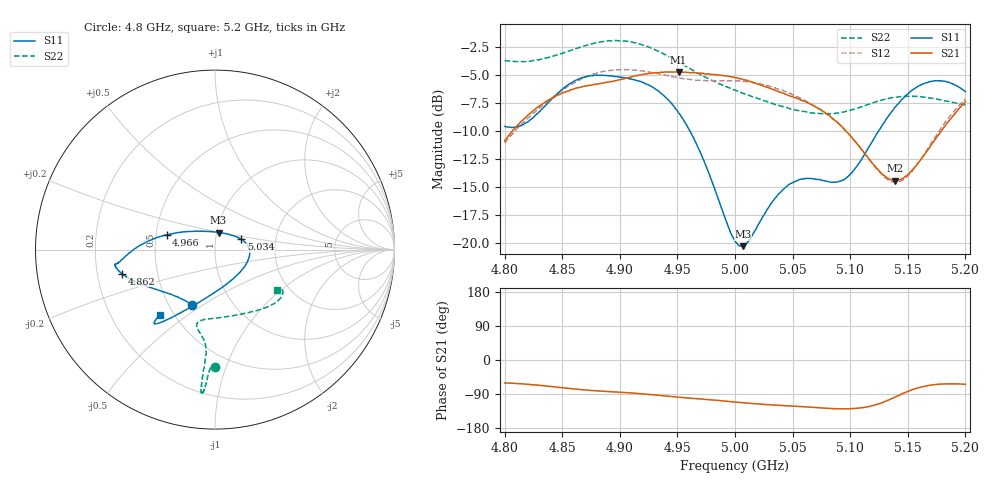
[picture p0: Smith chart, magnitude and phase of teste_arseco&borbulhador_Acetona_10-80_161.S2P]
! Network Analyzer HP8722D
! Hewlett-Packard
! Data name: Linha & Wilkinson
! Saver's name: Rodrigo Anjos
! Comments: Teste da utilização de aquisição
! continua pelo VNA HP8722D
! Time and date: 17/4/2025 15:42
!  Frequency  S11  S21  S12  S22
# HZ  S  MA R 50
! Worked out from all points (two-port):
!   401 points, 4.8 GHz to 5.2 GHz, reference 50 ohm
!   highest |S21| = -4.68 dB at 4.951 GHz (marker M1); lowest = -14.4 dB at 5.139 GHz (marker M2)
!   |S21| within 3 dB of the highest: 4.831 GHz to 5.068 GHz (236.9 MHz wide, 4.79 % of centre); 5.196953 GHz to end of sweep
!   lowest |S11| = -20.2 dB at 5.007 GHz (marker M3), VSWR 1.22, Z = 51.1 + j9.81 ohm
!   |S11| at or under -10 dB: 4.961 GHz to 5.124 GHz (163.3 MHz wide, 3.24 % of centre)
!   |S22| runs from -8.4 to -1.9 dB; largest |S21 - S12| = 0.88
!   S11 on the Smith chart (normalised r, x): 4.8 GHz: 0.65, -0.45; 4.862 GHz: 0.31, -0.12; 4.966 GHz: 0.57, +0.10; 5.034 GHz: 1.33, +0.16; 5.2 GHz: 0.42, -0.39
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4.8e9  0.3329 -113.0  0.2868 -60.7  0.2806 -174.8  0.6561 -90.0
4.819e9  0.3465 -133.0  0.3681 -63.9  0.3572 -173.3  0.6508 -91.5
4.862e9  0.5353 -165.5  0.494 -76.8  0.5276 -176.6  0.7414 -93.8
4.867e9  0.5487 -167.4  0.4999 -78.4  0.5431 -177.6  0.7557 -93.8
4.88e9  0.5631 -170.9  0.5142 -81.5  0.5763 179.6  0.7867 -94.5
4.903e9  0.5501 -172.0  0.5416 -85.4  0.5973 175.2  0.8008 -95.4
4.934e9  0.4775 -177.8  0.5784 -93.4  0.5724 172.1  0.7173 -95.7
4.951e9  0.383 173.6  0.5832 -98.2  0.5492 172.4  0.6446 -95.2
4.966e9  0.2818 163.0  0.5772 -101.9  0.5346 173.9  0.5825 -94.8
5e9  0.1025 102.7  0.5489 -111.0  0.5313 176.4  0.4827 -99.2
5.007e9  0.09721 78.1  0.5379 -112.8  0.5274 176.3  0.4675 -100.6
5.034e9  0.1574 21.6  0.484 -119.1  0.4956 174.9  0.4185 -103.5
5.049e9  0.1854 6.1  0.4525 -121.3  0.4646 174.4  0.3976 -100.1
5.067e9  0.1945 -13.0  0.4146 -124.9  0.4175 173.9  0.3826 -90.8
5.087e9  0.1876 -45.1  0.3523 -128.3  0.3533 173.7  0.3808 -75.7
5.097e9  0.1965 -65.8  0.3145 -128.8  0.3148 174.7  0.3894 -67.4
5.134e9  0.3751 -116.1  0.1935 -104.9  0.1905 -157.7  0.4447 -43.0
5.139e9  0.4057 -119.1  0.1907 -97.9  0.1878 -149.9  0.4493 -40.7
5.151e9  0.4693 -124.2  0.2048 -81.7  0.2024 -131.2  0.4543 -36.3
5.17e9  0.5283 -128.6  0.2728 -66.3  0.279 -112.5  0.4452 -31.8
5.184e9  0.526 -129.9  0.3442 -62.9  0.3555 -107.1  0.4316 -30.9
5.2e9  0.4754 -130.3  0.4284 -64.2  0.441 -106.2  0.4149 -33.1
